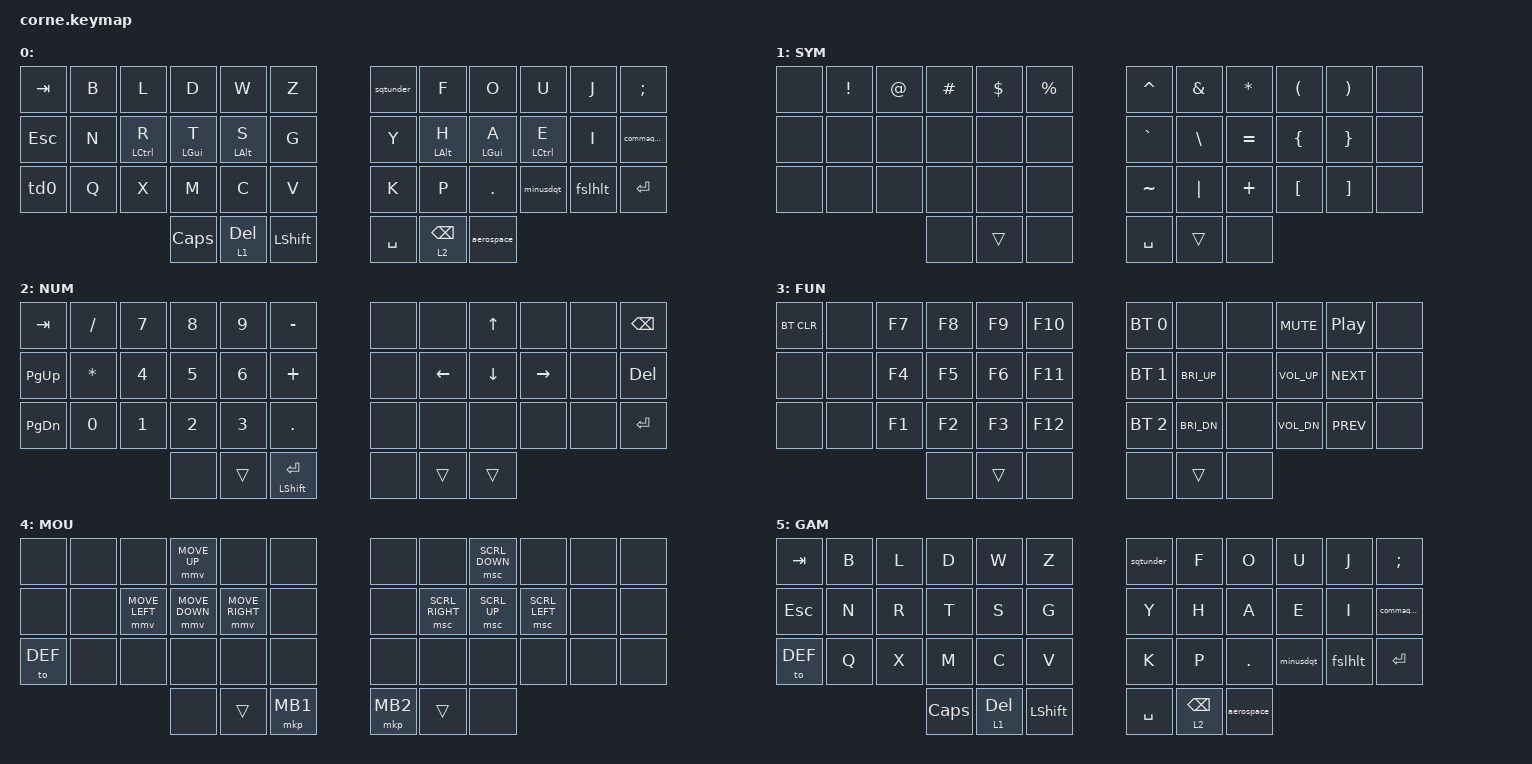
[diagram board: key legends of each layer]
/*
 * Copyright (c) 2020 The ZMK Contributors

 * SPDX-License-Identifier: MIT
 */

#define ZMK_POINTING_DEFAULT_MOVE_VAL 1200 
#define ZMK_POINTING_DEFAULT_SCRL_VAL 20

#include <behaviors.dtsi>
#include <dt-bindings/zmk/keys.h>
#include <dt-bindings/zmk/bt.h>
#include <dt-bindings/zmk/pointing.h>
#include "zmk-helpers/key-labels/42.h"
#define KEYS_L LT0 LT1 LT2 LT3 LT4 LT5 LM0 LM1 LM2 LM3 LM4 LM5 LB0 LB1 LB2 LB3 LB4 LB5
#define KEYS_R RT0 RT1 RT2 RT3 RT4 RT5 RM0 RM1 RM2 RM3 RM4 RM5 RB0 RB1 RB2 RB3 RB4 RB5
#define THUMBS LH0 LH1 LH2 RH0 RH1 RH2

#define DEF 0
#define SYM 1
#define NUM 2
#define FUN 3
#define MOU 4
#define GAM 5

#define MO_TOG(layer) &mo_tog layer layer

&lt {
    tapping-term-ms = <200>;
};

&caps_word {
    continue-list = <UNDERSCORE MINUS BACKSPACE DELETE>;
};

/ {
    conditional_layers {
        compatible = "zmk,conditional-layers";
        tri_layer {
            if-layers = <NUM SYM>;
            then-layer = <FUN>;
        };
    };

    behaviors {
        hml: home_mods_left {
            compatible = "zmk,behavior-hold-tap";
            #binding-cells = <2>;
            flavor = "balanced";
            tapping-term-ms = <280>;
            quick-tap-ms = <175>;
            require-prior-idle-ms = <150>;
            bindings = <&kp>, <&kp>;

            hold-trigger-key-positions = <KEYS_R THUMBS>;
            hold-trigger-on-release;
        };

        hmr: home_mods_right {
            compatible = "zmk,behavior-hold-tap";
            #binding-cells = <2>;
            flavor = "balanced";
            tapping-term-ms = <280>;
            quick-tap-ms = <175>;
            require-prior-idle-ms = <150>;
            bindings = <&kp>, <&kp>;

            hold-trigger-key-positions = <KEYS_L THUMBS>;
            hold-trigger-on-release;
        };

        hm: home_mods {
            compatible = "zmk,behavior-hold-tap";
            #binding-cells = <2>;
            flavor = "balanced";
            tapping-term-ms = <280>;
            quick-tap-ms = <175>;
            require-prior-idle-ms = <150>;
            bindings = <&kp>, <&kp>;
        };

        sqtunder: sqt_under {
            compatible = "zmk,behavior-mod-morph";
            #binding-cells = <0>;
            bindings = <&kp SQT>, <&kp UNDER>;
            mods = <(MOD_LSFT)>;
        };

        commaqmark: comma_qmark {
            compatible = "zmk,behavior-mod-morph";
            #binding-cells = <0>;
            bindings = <&kp COMMA>, <&kp QMARK>;
            mods = <(MOD_LSFT)>;
        };

        minusdqt: minus_dqt {
            compatible = "zmk,behavior-mod-morph";
            #binding-cells = <0>;
            bindings = <&kp MINUS>, <&kp DQT>;
            mods = <(MOD_LSFT)>;
        };
            
        fslhlt: fslh_lt {
            compatible = "zmk,behavior-mod-morph";
            #binding-cells = <0>;
            bindings = <&kp FSLH>, <&kp LT>;
            mods = <(MOD_LSFT)>;
        };

        td0: tap_dance_0 {
            compatible = "zmk,behavior-tap-dance";
            #binding-cells = <0>;
            tapping-term-ms = <200>;
            bindings = <&to MOU>, <&to GAM>;
        };
    };

    macros {
        aerospace: aerospace {
            compatible = "zmk,behavior-macro";
            #binding-cells = <0>;
            bindings
                = <&macro_press &mo 2 &kp LCTRL &kp LGUI &kp LALT>
                , <&macro_pause_for_release>
                , <&macro_release &mo 2 &kp LCTRL &kp LGUI &kp LALT>
                ;
        };
    };

    keymap {
        compatible = "zmk,keymap";

        default_layer { // Layer 0
            display-name = ""; 
            bindings = <
        //╭─────────────┬─────────────┬─────────────┬─────────────┬─────────────┬─────────────╮   ╭─────────────┬─────────────┬─────────────┬─────────────┬─────────────┬─────────────╮
        //│ TAB         │ B           │ L           │ D           │ W           │ Z           │   │ ' _         │ F           │ O           │ U           │ J           │ ; :         │
            &kp TAB       &kp B         &kp L         &kp D         &kp W         &kp Z             &sqtunder     &kp F         &kp O         &kp U         &kp J         &kp SEMI
        //├─────────────┼─────────────┼─────────────┼─────────────┼─────────────┼─────────────┤   ├─────────────┼─────────────┼─────────────┼─────────────┼─────────────┬─────────────┤
        //│ ESC         │ N           │ R           │ T           │ S           │ G           │   │ Y           │ H           │ A           │ E           │ I           │ , ?         │
            &kp ESC       &kp N         &hml LCTRL R  &hml LGUI T   &hml LALT S   &kp G             &kp Y         &hmr LALT H   &hmr LGUI A   &hmr LCTRL E  &kp I         &commaqmark
        //├─────────────┼─────────────┼─────────────┼─────────────┼─────────────┼─────────────┤   ├─────────────┼─────────────┼─────────────┼─────────────┼─────────────┬─────────────┤
        //│ LAYERS      │ Q           │ X           │ M           │ C           │ V           │   │ K           │ P           │ . >         │ - "         │ / <         │ ENTER       │
            &td0          &kp Q         &kp X         &kp M         &kp C         &kp V             &kp K         &kp P         &kp DOT       &minusdqt     &fslhlt       &kp ENTER
        //╰─────────────┴─────────────┴─────────────┼─────────────┼─────────────┼─────────────┤   ├─────────────┼─────────────┼─────────────┼─────────────┴─────────────┴─────────────╯
                                                      &kp CAPS      &lt 1 DEL     &kp LSHIFT        &kp SPACE     &lt 2 BSPC    &aerospace
        //                                          ╰─────────────┴─────────────┴─────────────╯   ╰─────────────┴─────────────┴─────────────╯
            >;
        };

        sym_layer { // Layer 1
            display-name = "SYM";
            bindings = <
        //╭─────────────┬─────────────┬─────────────┬─────────────┬─────────────┬─────────────╮   ╭─────────────┬─────────────┬─────────────┬─────────────┬─────────────┬─────────────╮
        //│             │ !           │ @           │ #           │ $           │ %           │   │ ^           │ &           │ *           │ (           │ )           │             │
            &none         &kp EXCL      &kp AT        &kp HASH      &kp DLLR      &kp PRCNT         &kp CARET     &kp AMPS      &kp STAR      &kp LPAR      &kp RPAR      &none            
        //├─────────────┼─────────────┼─────────────┼─────────────┼─────────────┼─────────────┤   ├─────────────┼─────────────┼─────────────┼─────────────┼─────────────┬─────────────┤
        //│             │             │             │             │             │             │   │ `           │ \           │ =           │ {           │ }           │             │
            &none         &none         &none         &none         &none         &none            &kp GRAVE      &kp BSLH      &kp EQUAL     &kp LBRC      &kp RBRC      &none            
        //├─────────────┼─────────────┼─────────────┼─────────────┼─────────────┼─────────────┤   ├─────────────┼─────────────┼─────────────┼─────────────┼─────────────┬─────────────┤
        //│             │             │             │             │             │             │   │ ~           │ |           │ +           │ [           │ ]           │             │
            &none         &none         &none         &none         &none         &none             &kp TILDE     &kp PIPE      &kp PLUS      &kp LBKT      &kp RBKT      &none            
        //╰─────────────┴─────────────┴─────────────┼─────────────┼─────────────┼─────────────┤   ├─────────────┼─────────────┼─────────────┼─────────────┴─────────────┴─────────────╯
                                                      &none         &trans        &none             &kp SPACE     &trans        &none
        //                                          ╰─────────────┴─────────────┴─────────────╯   ╰─────────────┴─────────────┴─────────────╯
            >;
        };

        num_layer { // Layer 2
            display-name = "NUM";
            bindings = <
        //╭─────────────┬─────────────┬─────────────┬─────────────┬─────────────┬─────────────╮   ╭─────────────┬─────────────┬─────────────┬─────────────┬─────────────┬─────────────╮
        //│ TAB         │ /           │ 7           │ 8           │ 9           │ -           │   │             │             │ UP          │             │             │ BACKSPACE   │
            &kp TAB       &kp SLASH     &kp N7        &kp N8        &kp N9        &kp MINUS         &none         &none         &kp UP        &none         &none         &kp BSPC          
        //├─────────────┼─────────────┼─────────────┼─────────────┼─────────────┼─────────────┤   ├─────────────┼─────────────┼─────────────┼─────────────┼─────────────┬─────────────┤
        //│             │ *           │ 4           │ 5           │ 6           │ +           │   │             │ LEFT        │ DOWN        │ RIGHT       │             │ DELETE      │
            &kp PG_UP     &kp STAR      &kp N4        &kp N5        &kp N6        &kp PLUS          &none         &kp LEFT      &kp DOWN      &kp RIGHT     &none         &kp DELETE          
        //├─────────────┼─────────────┼─────────────┼─────────────┼─────────────┼─────────────┤   ├─────────────┼─────────────┼─────────────┼─────────────┼─────────────┬─────────────┤
        //│             │ 0           │ 1           │ 2           │ 3           │ .           │   │             │             │             │             │             │ ENTER       │
            &kp PG_DN     &kp N0        &kp N1        &kp N2        &kp N3        &kp DOT           &none         &none         &none         &none         &none         &kp ENTER          
        //╰─────────────┴─────────────┴─────────────┼─────────────┼─────────────┼─────────────┤   ├─────────────┼─────────────┼─────────────┼─────────────┴─────────────┴─────────────╯
                                                      &none         &trans        &hm LSHFT ENTER   &none         &trans        &trans
        //                                          ╰─────────────┴─────────────┴─────────────╯   ╰─────────────┴─────────────┴─────────────╯
            >;
        };

        fun_layer { // Layer 3
            display-name = "FUN";            
            bindings = <
        //╭─────────────┬─────────────┬─────────────┬─────────────┬─────────────┬─────────────╮   ╭─────────────┬─────────────┬─────────────┬─────────────┬─────────────┬─────────────╮
        //│ BT CLEAR    │             │ F7          │ F8          │ F9          │ F10         │   │ PROFILE 0   │             │             │ VOL MUTE    │ PLAY/PAUSE  │             │
            &bt BT_CLR    &none         &kp F7        &kp F8        &kp F9        &kp F10           &bt BT_SEL 0  &none         &none         &kp C_MUTE    &kp C_PP      &none            
        //├─────────────┼─────────────┼─────────────┼─────────────┼─────────────┼─────────────┤   ├─────────────┼─────────────┼─────────────┼─────────────┼─────────────┬─────────────┤
        //│             │             │ F4          │ F5          │ F6          │ F11         │   │ PROFILE 1   │INC BRIGHT   │             │  VOL UP     │  NEXT       │             │
            &none         &none         &kp F4        &kp F5        &kp F6        &kp F11           &bt BT_SEL 1  &kp C_BRI_UP  &none         &kp C_VOL_UP  &kp C_NEXT    &none            
        //├─────────────┼─────────────┼─────────────┼─────────────┼─────────────┼─────────────┤   ├─────────────┼─────────────┼─────────────┼─────────────┼─────────────┬─────────────┤
        //│             │             │ F1          │ F2          │ F3          │ F12         │   │ PROFILE 2   │DEC BRIGHT   │             │  VOL DN     │  PREV       │             │
            &none         &none         &kp F1        &kp F2        &kp F3        &kp F12           &bt BT_SEL 2  &kp C_BRI_DN  &none         &kp C_VOL_DN  &kp C_PREV    &none            
        //╰─────────────┴─────────────┴─────────────┼─────────────┼─────────────┼─────────────┤   ├─────────────┼─────────────┼─────────────┼─────────────┴─────────────┴─────────────╯
                                                      &none         &trans        &none             &none         &trans        &none
        //                                          ╰─────────────┴─────────────┴─────────────╯   ╰─────────────┴─────────────┴─────────────╯
            >;
        };

        MOU_layer { // Layer 4
            display-name = "MOU";
            bindings = <
        //╭─────────────┬─────────────┬─────────────┬─────────────┬─────────────┬─────────────╮   ╭─────────────┬─────────────┬─────────────┬─────────────┬─────────────┬─────────────╮
        //│             │             │             │ MV UP       │             │             │   │             │             │ SCR UP      │             │             │             │
            &none         &none         &none         &mmv MOVE_UP  &none         &none             &none         &none       &msc SCRL_DOWN  &none         &none         &none            
        //├─────────────┼─────────────┼─────────────┼─────────────┼─────────────┼─────────────┤   ├─────────────┼─────────────┼─────────────┼─────────────┼─────────────┬─────────────┤
        //│             │             │ MV LEFT     │ MV DOWN     │ MV RIGHT    │             │   │             │ SCR LEFT    │ SCR DOWN    │ SCR RIGHT   │             │             │
            &none         &none       &mmv MOVE_LEFT &mmv MOVE_DOWN &mmv MOVE_RIGHT &none           &none      &msc SCRL_RIGHT &msc SCRL_UP  &msc SCRL_LEFT &none         &none            
        //├─────────────┼─────────────┼─────────────┼─────────────┼─────────────┼─────────────┤   ├─────────────┼─────────────┼─────────────┼─────────────┼─────────────┬─────────────┤
        //│ LAYER 0     │             │             │             │             │             │   │             │             │             │             │             │             │
            &to DEF       &none         &none         &none         &none         &none             &none         &none         &none         &none         &none         &none            
        //╰─────────────┴─────────────┴─────────────┼─────────────┼─────────────┼─────────────┤   ├─────────────┼─────────────┼─────────────┼─────────────┴─────────────┴─────────────╯
                                                      &none         &trans        &mkp MB1          &mkp MB2      &trans        &none
        //                                          ╰─────────────┴─────────────┴─────────────╯   ╰─────────────┴─────────────┴─────────────╯
            >;
        };

        game_layer { // Layer 5
            display-name = "GAM"; 
            bindings = <
        //╭─────────────┬─────────────┬─────────────┬─────────────┬─────────────┬─────────────╮   ╭─────────────┬─────────────┬─────────────┬─────────────┬─────────────┬─────────────╮
        //│ TAB         │ B           │ L           │ D           │ W           │ Z           │   │ ' _         │ F           │ O           │ U           │ J           │ ; :         │
            &kp TAB       &kp B         &kp L         &kp D         &kp W         &kp Z             &sqtunder     &kp F         &kp O         &kp U         &kp J         &kp SEMI
        //├─────────────┼─────────────┼─────────────┼─────────────┼─────────────┼─────────────┤   ├─────────────┼─────────────┼─────────────┼─────────────┼─────────────┬─────────────┤
        //│ ESC         │ N           │ R           │ T           │ S           │ G           │   │ Y           │ H           │ A           │ E           │ I           │ , ?         │
            &kp ESC       &kp N         &kp R         &kp T         &kp S         &kp G             &kp Y         &kp H         &kp A         &kp E         &kp I         &commaqmark
        //├─────────────┼─────────────┼─────────────┼─────────────┼─────────────┼─────────────┤   ├─────────────┼─────────────┼─────────────┼─────────────┼─────────────┬─────────────┤
        //│ LAYER 0     │ Q           │ X           │ M           │ C           │ V           │   │ K           │ P           │ . >         │ - "         │ / <         │ ENTER       │
            &to DEF       &kp Q         &kp X         &kp M         &kp C         &kp V             &kp K         &kp P         &kp DOT       &minusdqt     &fslhlt       &kp ENTER
        //╰─────────────┴─────────────┴─────────────┼─────────────┼─────────────┼─────────────┤   ├─────────────┼─────────────┼─────────────┼─────────────┴─────────────┴─────────────╯
                                                      &kp CAPS      &lt 1 DEL     &kp LSHIFT        &kp SPACE     &lt 2 BSPC    &aerospace
        //                                          ╰─────────────┴─────────────┴─────────────╯   ╰─────────────┴─────────────┴─────────────╯
            >;
        };
    };
};
    
